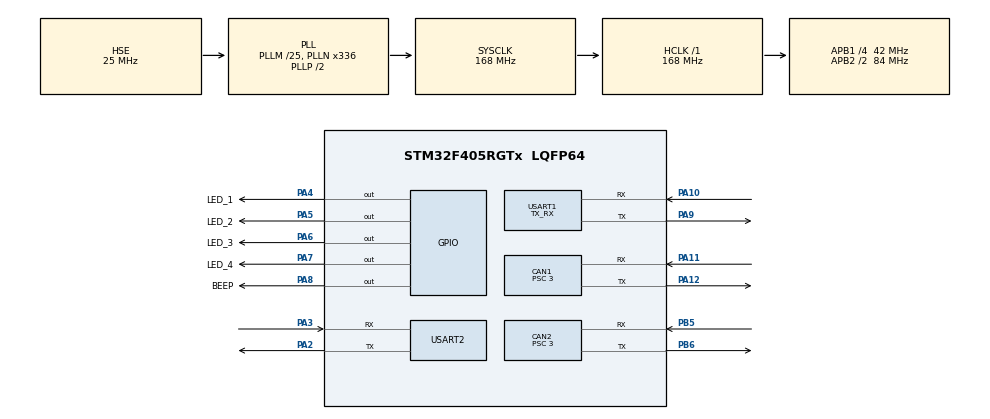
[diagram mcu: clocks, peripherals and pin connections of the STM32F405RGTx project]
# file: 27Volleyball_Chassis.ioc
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CAN1.ABOM=ENABLE
CAN1.AWUM=ENABLE
CAN1.BS1=CAN_BS1_9TQ
CAN1.BS2=CAN_BS2_4TQ
CAN1.CalculateBaudRate=1000000
CAN1.CalculateTimeBit=1000
CAN1.CalculateTimeQuantum=71.42857142857143
CAN1.NART=ENABLE
CAN1.Prescaler=3
CAN1.RFLM=DISABLE
CAN2.ABOM=ENABLE
CAN2.AWUM=ENABLE
CAN2.BS1=CAN_BS1_9TQ
CAN2.BS2=CAN_BS2_4TQ
CAN2.CalculateBaudRate=1000000
CAN2.CalculateTimeBit=1000
CAN2.CalculateTimeQuantum=71.42857142857143
CAN2.NART=ENABLE
CAN2.Prescaler=3
Dma.Request0=USART1_RX
Dma.Request1=USART1_TX
Dma.Request2=USART2_RX
Dma.Request3=USART2_TX
Dma.USART1_RX.0.Direction=DMA_PERIPH_TO_MEMORY
Dma.USART1_RX.0.FIFOMode=DMA_FIFOMODE_DISABLE
Dma.USART1_RX.0.Instance=DMA2_Stream2
Dma.USART1_RX.0.MemDataAlignment=DMA_MDATAALIGN_BYTE
Dma.USART1_RX.0.MemInc=DMA_MINC_ENABLE
Dma.USART1_RX.0.Mode=DMA_NORMAL
Dma.USART1_RX.0.PeriphDataAlignment=DMA_PDATAALIGN_BYTE
Dma.USART1_RX.0.PeriphInc=DMA_PINC_DISABLE
Dma.USART1_RX.0.Priority=DMA_PRIORITY_LOW
Dma.USART1_TX.1.Direction=DMA_MEMORY_TO_PERIPH
Dma.USART1_TX.1.FIFOMode=DMA_FIFOMODE_DISABLE
Dma.USART1_TX.1.Instance=DMA2_Stream7
Dma.USART1_TX.1.MemDataAlignment=DMA_MDATAALIGN_BYTE
Dma.USART1_TX.1.MemInc=DMA_MINC_ENABLE
Dma.USART1_TX.1.Mode=DMA_NORMAL
Dma.USART1_TX.1.PeriphDataAlignment=DMA_PDATAALIGN_BYTE
Dma.USART1_TX.1.PeriphInc=DMA_PINC_DISABLE
Dma.USART1_TX.1.Priority=DMA_PRIORITY_LOW
Dma.USART2_RX.2.Direction=DMA_PERIPH_TO_MEMORY
Dma.USART2_RX.2.FIFOMode=DMA_FIFOMODE_DISABLE
Dma.USART2_RX.2.Instance=DMA1_Stream5
Dma.USART2_RX.2.MemDataAlignment=DMA_MDATAALIGN_BYTE
Dma.USART2_RX.2.MemInc=DMA_MINC_ENABLE
Dma.USART2_RX.2.Mode=DMA_NORMAL
Dma.USART2_RX.2.PeriphDataAlignment=DMA_PDATAALIGN_BYTE
Dma.USART2_RX.2.PeriphInc=DMA_PINC_DISABLE
Dma.USART2_RX.2.Priority=DMA_PRIORITY_LOW
Dma.USART2_TX.3.Direction=DMA_MEMORY_TO_PERIPH
Dma.USART2_TX.3.FIFOMode=DMA_FIFOMODE_DISABLE
Dma.USART2_TX.3.Instance=DMA1_Stream6
Dma.USART2_TX.3.MemDataAlignment=DMA_MDATAALIGN_BYTE
Dma.USART2_TX.3.MemInc=DMA_MINC_ENABLE
Dma.USART2_TX.3.Mode=DMA_NORMAL
Dma.USART2_TX.3.PeriphDataAlignment=DMA_PDATAALIGN_BYTE
Dma.USART2_TX.3.PeriphInc=DMA_PINC_DISABLE
Dma.USART2_TX.3.Priority=DMA_PRIORITY_LOW
FREERTOS.Tasks01=LedTask,24,128,LedWaterTask,As weak,NULL,Dynamic,NULL,NULL;BeepTask,24,128,BeepAlarmTask,As weak,NULL,Dynamic,NULL,NULL
Mcu.Family=STM32F4
Mcu.Name=STM32F405RGTx
Mcu.Package=LQFP64
NVIC.CAN1_RX0_IRQn=true\:5\:0\:true\:false\:true\:true\:true\:true\:true
NVIC.CAN1_RX1_IRQn=true\:5\:0\:true\:false\:true\:true\:true\:true\:true
NVIC.CAN2_RX0_IRQn=true\:5\:0\:false\:false\:true\:true\:true\:true\:true
NVIC.CAN2_RX1_IRQn=true\:5\:0\:false\:false\:true\:true\:true\:true\:true
NVIC.DMA1_Stream5_IRQn=true\:5\:0\:false\:false\:true\:true\:false\:true\:true
NVIC.DMA1_Stream6_IRQn=true\:5\:0\:false\:false\:true\:true\:false\:true\:true
NVIC.DMA2_Stream2_IRQn=true\:5\:0\:false\:false\:true\:true\:false\:true\:true
NVIC.DMA2_Stream7_IRQn=true\:5\:0\:false\:false\:true\:true\:false\:true\:true
NVIC.PriorityGroup=NVIC_PRIORITYGROUP_4
NVIC.TIM1_UP_TIM10_IRQn=true\:15\:0\:false\:false\:true\:false\:false\:true\:true
NVIC.TIM2_IRQn=true\:5\:0\:true\:false\:true\:true\:true\:true\:true
NVIC.TIM3_IRQn=true\:5\:0\:true\:false\:true\:true\:true\:true\:true
NVIC.TimeBase=TIM1_UP_TIM10_IRQn
NVIC.TimeBaseIP=TIM1
NVIC.USART1_IRQn=true\:5\:0\:true\:false\:true\:true\:true\:true\:true
NVIC.USART2_IRQn=true\:5\:0\:true\:false\:true\:true\:true\:true\:true
PA10.GPIO_PuPd=GPIO_PULLUP
PA10.GPIO_Speed=GPIO_SPEED_FREQ_VERY_HIGH
PA10.Mode=Asynchronous
PA10.Signal=USART1_RX
PA11.Mode=CAN_Activate
PA11.Signal=CAN1_RX
PA12.Mode=CAN_Activate
PA12.Signal=CAN1_TX
PA2.Mode=Asynchronous
PA2.Signal=USART2_TX
PA3.GPIO_PuPd=GPIO_PULLUP
PA3.Mode=Asynchronous
PA3.Signal=USART2_RX
PA4.GPIO_Label=LED_1
PA4.GPIO_ModeDefaultOutputPP=GPIO_MODE_OUTPUT_PP
PA4.GPIO_PuPd=GPIO_PULLDOWN
PA4.GPIO_Speed=GPIO_SPEED_FREQ_LOW
PA4.PinState=GPIO_PIN_RESET
PA4.Signal=GPIO_Output
PA5.GPIO_Label=LED_2
PA5.GPIO_PuPd=GPIO_PULLDOWN
PA5.Signal=GPIO_Output
PA6.GPIO_Label=LED_3
PA6.GPIO_PuPd=GPIO_PULLDOWN
PA6.Signal=GPIO_Output
PA7.GPIO_Label=LED_4
PA7.GPIO_PuPd=GPIO_PULLDOWN
PA7.Signal=GPIO_Output
PA8.GPIO_Label=BEEP
PA8.GPIO_PuPd=GPIO_PULLDOWN
PA8.Signal=GPIO_Output
PA9.Mode=Asynchronous
PA9.Signal=USART1_TX
PB5.Mode=CAN_Activate
PB5.Signal=CAN2_RX
PB6.Mode=CAN_Activate
PB6.Signal=CAN2_TX
PH0-OSC_IN.Mode=HSE-External-Oscillator
PH0-OSC_IN.Signal=RCC_OSC_IN
PH1-OSC_OUT.Mode=HSE-External-Oscillator
PH1-OSC_OUT.Signal=RCC_OSC_OUT
ProjectManager.HeapSize=0x800
ProjectManager.StackSize=0x400
ProjectManager.TargetToolchain=MDK-ARM V5.32
RCC.48MHZClocksFreq_Value=84000000
RCC.AHBFreq_Value=168000000
RCC.APB1CLKDivider=RCC_HCLK_DIV4
RCC.APB1Freq_Value=42000000
RCC.APB1TimFreq_Value=84000000
RCC.APB2CLKDivider=RCC_HCLK_DIV2
RCC.APB2Freq_Value=84000000
RCC.APB2TimFreq_Value=168000000
RCC.CortexFreq_Value=168000000
RCC.HCLKFreq_Value=168000000
RCC.HSE_VALUE=25000000
RCC.HSI_VALUE=16000000
RCC.LSE_VALUE=32768
RCC.PLLM=25
RCC.PLLN=336
RCC.PLLSourceVirtual=RCC_PLLSOURCE_HSE
RCC.SYSCLKFreq_VALUE=168000000
RCC.SYSCLKSource=RCC_SYSCLKSOURCE_PLLCLK
RCC.VCOOutputFreq_Value=336000000
TIM2.Period=1000-1
TIM2.Prescaler=84-1
TIM3.AutoReloadPreload=TIM_AUTORELOAD_PRELOAD_DISABLE
TIM3.Period=1000-1
TIM3.Prescaler=84-1
USART1.Mode=MODE_TX_RX
USART1.VirtualMode=VM_ASYNC
USART2.VirtualMode=VM_ASYNC
VP_FREERTOS_VS_CMSIS_V2.Mode=CMSIS_V2
VP_SYS_VS_tim1.Mode=TIM1
VP_TIM2_VS_ClockSourceINT.Mode=Internal
VP_TIM3_VS_ClockSourceINT.Mode=Internal
board=custom

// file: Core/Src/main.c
/* USER CODE BEGIN Header */
/**
  ******************************************************************************
  * @file           : main.c
  * @brief          : Main program body
  ******************************************************************************
  * @attention
  *
  * Copyright (c) 2026 STMicroelectronics.
  * All rights reserved.
  *
  * This software is licensed under terms that can be found in the LICENSE file
  * in the root directory of this software component.
  * If no LICENSE file comes with this software, it is provided AS-IS.
  *
  ******************************************************************************
  */
/* USER CODE END Header */
#include "main.h"
#include "cmsis_os.h"
#include "can.h"
#include "dma.h"
#include "tim.h"
#include "usart.h"
#include "gpio.h"

/* USER CODE BEGIN Includes */
#include "beep.h"
#include "led.h"
#include "exti_irqhandler.h"
#include "tim_irqhandler.h"
#include "uart_irqhandler.h"
#include "solenoid.h"
#include "can_queue.h"
#include "zdrive.h"

/* USER CODE END Includes */

void SystemClock_Config(void);
void MX_FREERTOS_Init(void);

int main(void)
{

  /* MCU Configuration--------------------------------------------------------*/

  /* Reset of all peripherals, Initializes the Flash interface and the Systick. */
  HAL_Init();

  /* Configure the system clock */
  SystemClock_Config();

  /* Initialize all configured peripherals */
  MX_GPIO_Init();
  MX_DMA_Init();
  MX_TIM2_Init();
  MX_TIM3_Init();
  MX_USART1_UART_Init();
  MX_CAN1_Init();
  MX_USART2_UART_Init();
  MX_CAN2_Init();
  /* USER CODE BEGIN 2 */
  Beep_Init();
  CAN_InitSendQueue();
  #if USE_DJ
  DJmotor_Init();
  #endif
  #if USE_ZMDR
  ZdriveInit();
  #endif
  /* USER CODE END 2 */

  /* Init scheduler */
  osKernelInitialize();  /* Call init function for freertos objects (in cmsis_os2.c) */
  MX_FREERTOS_Init();
  if (HAL_TIM_Base_Start_IT(&htim2) != HAL_OK)
    Error_Handler();

  /* Start scheduler */
  osKernelStart();

  /* We should never get here as control is now taken by the scheduler */

  /* Infinite loop */
  while (1)
  {

  }
}

void SystemClock_Config(void)
{
  RCC_OscInitTypeDef RCC_OscInitStruct = {0};
  RCC_ClkInitTypeDef RCC_ClkInitStruct = {0};

  /** Configure the main internal regulator output voltage
  */
  __HAL_RCC_PWR_CLK_ENABLE();
  __HAL_PWR_VOLTAGESCALING_CONFIG(PWR_REGULATOR_VOLTAGE_SCALE1);

  /** Initializes the RCC Oscillators according to the specified parameters
  * in the RCC_OscInitTypeDef structure.
  */
  RCC_OscInitStruct.OscillatorType = RCC_OSCILLATORTYPE_HSE;
  RCC_OscInitStruct.HSEState = RCC_HSE_ON;
  RCC_OscInitStruct.PLL.PLLState = RCC_PLL_ON;
  RCC_OscInitStruct.PLL.PLLSource = RCC_PLLSOURCE_HSE;
  RCC_OscInitStruct.PLL.PLLM = 25;
  RCC_OscInitStruct.PLL.PLLN = 336;
  RCC_OscInitStruct.PLL.PLLP = RCC_PLLP_DIV2;
  RCC_OscInitStruct.PLL.PLLQ = 4;
  if (HAL_RCC_OscConfig(&RCC_OscInitStruct) != HAL_OK)
  {
    Error_Handler();
  }

  /** Initializes the CPU, AHB and APB buses clocks
  */
  RCC_ClkInitStruct.ClockType = RCC_CLOCKTYPE_HCLK|RCC_CLOCKTYPE_SYSCLK
                              |RCC_CLOCKTYPE_PCLK1|RCC_CLOCKTYPE_PCLK2;
  RCC_ClkInitStruct.SYSCLKSource = RCC_SYSCLKSOURCE_PLLCLK;
  RCC_ClkInitStruct.AHBCLKDivider = RCC_SYSCLK_DIV1;
  RCC_ClkInitStruct.APB1CLKDivider = RCC_HCLK_DIV4;
  RCC_ClkInitStruct.APB2CLKDivider = RCC_HCLK_DIV2;

  if (HAL_RCC_ClockConfig(&RCC_ClkInitStruct, FLASH_LATENCY_5) != HAL_OK)
  {
    Error_Handler();
  }
}

void HAL_TIM_PeriodElapsedCallback(TIM_HandleTypeDef *htim)
{
  if (htim->Instance == TIM1)
  {
    HAL_IncTick();
  }
  /* USER CODE BEGIN Callback 1 */
  TIM_PeriodElapsedCallback(htim);
  /* USER CODE END Callback 1 */
}

void Error_Handler(void)
{
  __disable_irq();
  while (1)
  {
  }
}

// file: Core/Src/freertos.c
/* USER CODE BEGIN Header */
/**
  ******************************************************************************
  * File Name          : freertos.c
  * Description        : Code for freertos applications
  ******************************************************************************
  * @attention
  *
  * Copyright (c) 2026 STMicroelectronics.
  * All rights reserved.
  *
  * This software is licensed under terms that can be found in the LICENSE file
  * in the root directory of this software component.
  * If no LICENSE file comes with this software, it is provided AS-IS.
  *
  ******************************************************************************
  */
/* USER CODE END Header */

#include "FreeRTOS.h"
#include "task.h"
#include "main.h"
#include "cmsis_os.h"
#include "bluetooth.h"
#include "imu.h"
#include "myostasks.h"
#include "uart_irqhandler.h"

/* Definitions for LedTask */
osThreadId_t LedTaskHandle;
const osThreadAttr_t LedTask_attributes = {
  .name = "LedTask",
  .stack_size = 128 * 4,
  .priority = (osPriority_t) osPriorityNormal,
};
/* Definitions for BeepTask */
osThreadId_t BeepTaskHandle;
const osThreadAttr_t BeepTask_attributes = {
  .name = "BeepTask",
  .stack_size = 128 * 4,
  .priority = (osPriority_t) osPriorityNormal,
};

static void UART_Start_Task(void *argument)
{
  (void)argument;
  UART_Start_Recieve();
  vTaskDelete(NULL);
}

void LedWaterTask(void *argument);
void BeepAlarmTask(void *argument);

void MX_FREERTOS_Init(void); /* (MISRA C 2004 rule 8.1) */

void MX_FREERTOS_Init(void) {

  /* Create the thread(s) */
  /* creation of LedTask */
  LedTaskHandle = osThreadNew(LedWaterTask, NULL, &LedTask_attributes);

  /* creation of BeepTask */
  BeepTaskHandle = osThreadNew(BeepAlarmTask, NULL, &BeepTask_attributes);

  /* USER CODE BEGIN RTOS_THREADS */
  Bluetooth_Init();
  Imu_Init();
  if (xTaskCreate(UART_Start_Task, "UART_Start", 128, NULL, 33, NULL) != pdPASS)
    Error_Handler();
#if APP_VOFA_ENABLE
  if (xTaskCreate(VOFA_SendTask, "VOFA_Send", 256, NULL, 24, NULL) != pdPASS)
    Error_Handler();
#endif
  if (xTaskCreate(Chassis_Task, "Chassis", 512, NULL, 30, NULL) != pdPASS)
    Error_Handler();
  /* USER CODE END RTOS_THREADS */

}

__weak void LedWaterTask(void *argument)
{
  for(;;)
  {
    osDelay(1);
  }
}

__weak void BeepAlarmTask(void *argument)
{
  for(;;)
  {
    osDelay(1);
  }
}
